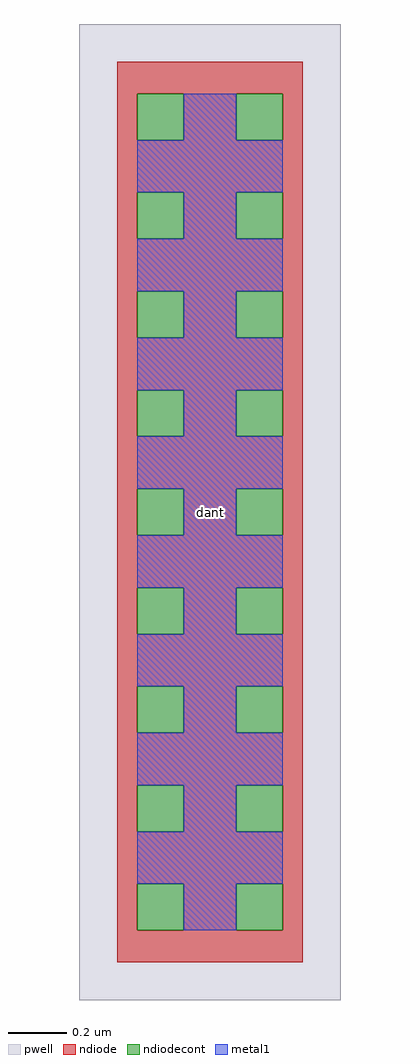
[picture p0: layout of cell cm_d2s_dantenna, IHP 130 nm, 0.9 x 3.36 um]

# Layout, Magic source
magic
tech ihp-sg13cmos5l
<< pwell >>
rect -13 -13 77 323
<< ndiode >>
rect 0 299 64 310
rect 0 283 7 299
rect 23 283 41 299
rect 57 283 64 299
rect 0 265 64 283
rect 0 249 7 265
rect 23 249 41 265
rect 57 249 64 265
rect 0 231 64 249
rect 0 215 7 231
rect 23 215 41 231
rect 57 215 64 231
rect 0 197 64 215
rect 0 181 7 197
rect 23 181 41 197
rect 57 181 64 197
rect 0 163 64 181
rect 0 147 7 163
rect 23 147 41 163
rect 57 147 64 163
rect 0 129 64 147
rect 0 113 7 129
rect 23 113 41 129
rect 57 113 64 129
rect 0 95 64 113
rect 0 79 7 95
rect 23 79 41 95
rect 57 79 64 95
rect 0 61 64 79
rect 0 45 7 61
rect 23 45 41 61
rect 57 45 64 61
rect 0 27 64 45
rect 0 11 7 27
rect 23 11 41 27
rect 57 11 64 27
rect 0 0 64 11
<< ndiodecont >>
rect 7 283 23 299
rect 41 283 57 299
rect 7 249 23 265
rect 41 249 57 265
rect 7 215 23 231
rect 41 215 57 231
rect 7 181 23 197
rect 41 181 57 197
rect 7 147 23 163
rect 41 147 57 163
rect 7 113 23 129
rect 41 113 57 129
rect 7 79 23 95
rect 41 79 57 95
rect 7 45 23 61
rect 41 45 57 61
rect 7 11 23 27
rect 41 11 57 27
<< metal1 >>
rect 23 283 41 299
rect 7 265 57 283
rect 23 249 41 265
rect 7 231 57 249
rect 23 215 41 231
rect 7 197 57 215
rect 23 181 41 197
rect 7 163 57 181
rect 23 147 41 163
rect 7 129 57 147
rect 23 113 41 129
rect 7 95 57 113
rect 23 79 41 95
rect 7 61 57 79
rect 23 45 41 61
rect 7 27 57 45
rect 23 11 41 27
<< labels >>
flabel comment s 32 155 32 155 0 FreeSans 200 0 0 0 dant
<< properties >>
string GDS_END 59674
string GDS_FILE custom_io/gds/sg13cmos5l_IOPadDiff2Single.uniq.gds
string GDS_START 58198
<< end >>
